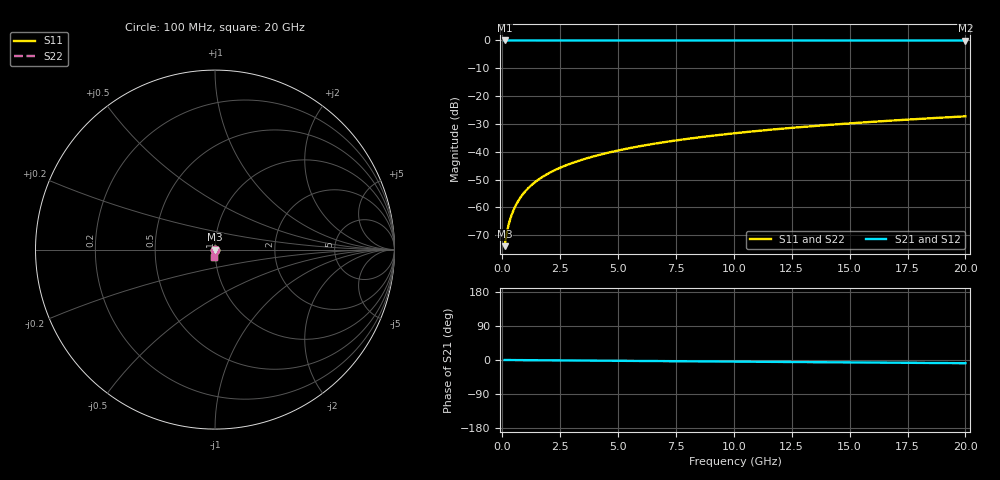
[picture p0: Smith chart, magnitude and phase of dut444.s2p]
! Touchstone file exported from HFSS 2026.1.0
!  File:  C:/ffzhzh/LocalFiles/Ansys_Project_Files/temp_train_TSV_444_1783021563_55676.aedt
!  Generated:  03:47:35 AM Jul  3, 2026
!  Design:  TSV
!  Project:  temp_train_TSV_444_1783021563_55676
! Variables:
!  h_bsmrdl = 2um
!  h_ox = 20um
!  h_rdl = 5um
!  h_sub = 84.55um
!  h_tmrdl = 5um
!  h_tsv = 84.55um
!  h_via = 3um
!  l_bsmrdl = 300um
!  l_sub = 423.56um
!  l_tmrdl = 200um
!  m_sub = 200um
!  pitch = 36.21um
!  r_tsv = 11.78um
!  s_tmrdl = 10um
!  w_bsmrdl = 18um
!  w_sub = 500um
!  w_tmrdl = 12um
!  x_tsv_center1 = 206um
!  x_tsv_center2 = 524um
!  x_tsv_center3 = 736um
!  x_tsv_center4 = 1054um
!  x_tsv_center5 = 1266um
!  x_tsv_center6 = 1584um
# GHz S MA R 50.000000
! Terminal data exported
! Port[1] = TSV1_1_T1
! Port[2] = TSV1_1_T2
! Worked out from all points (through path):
!   200 points, 100 MHz to 20 GHz, reference 50 ohm
!   highest |S21| = 0.00 dB at 100 MHz (marker M1); lowest = 0.0 dB at 20 GHz (marker M2)
!   group delay of S21, straight-line fit = 1.17 ps
!   lowest |S11| = -74.0 dB at 100 MHz (marker M3), VSWR 1.00, Z = 50 - j0.0167 ohm
!   |S11| at or under -10 dB: start of sweep to end of sweep
!   |S22| runs from -74.0 to -27.3 dB; largest |S21 - S12| = 2.1e-15
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0.1  0.0002003 -56.6  0.9999 -0.0  0.9999 -0.0  0.0002003 -56.6
! Gamma 0 0 0 0
! Port Impedance 50 0 50 0
0.2  0.0003611 -69.7  0.9999 -0.1  0.9999 -0.1  0.0003611 -69.7
0.3  0.0005376 -74.1  0.9999 -0.1  0.9999 -0.1  0.0005376 -74.1
0.4  0.0007244 -76.1  0.9998 -0.2  0.9998 -0.2  0.0007244 -76.1
0.5  0.0009192 -77.4  0.9998 -0.2  0.9998 -0.2  0.0009192 -77.4
0.7  0.001326 -79.2  0.9997 -0.3  0.9997 -0.3  0.001326 -79.2
0.8  0.001534 -79.9  0.9997 -0.4  0.9997 -0.4  0.001534 -79.9
1  0.001957 -81.1  0.9997 -0.4  0.9997 -0.4  0.001957 -81.1
1.2  0.002382 -82.1  0.9996 -0.5  0.9996 -0.5  0.002382 -82.1
1.4  0.002809 -83.0  0.9996 -0.6  0.9996 -0.6  0.002809 -83.0
1.7  0.003449 -84.0  0.9996 -0.7  0.9996 -0.7  0.003449 -84.0
2  0.004089 -84.8  0.9996 -0.9  0.9996 -0.9  0.004089 -84.8
2.7  0.005582 -86.2  0.9995 -1.2  0.9995 -1.2  0.005582 -86.2
3.5  0.007293 -87.2  0.9994 -1.5  0.9994 -1.5  0.007293 -87.2
4.2  0.008797 -87.9  0.9994 -1.8  0.9994 -1.8  0.008797 -87.9
5  0.01052 -88.6  0.9993 -2.1  0.9993 -2.1  0.01052 -88.6
6.8  0.01443 -89.8  0.9991 -2.9  0.9991 -2.9  0.01443 -89.8
8.3  0.01769 -90.7  0.999 -3.5  0.999 -3.5  0.01769 -90.7
10.1  0.02162 -91.8  0.9988 -4.3  0.9988 -4.3  0.02162 -91.8
13.4  0.02883 -93.5  0.9985 -5.7  0.9985 -5.7  0.02883 -93.5
16.7  0.03603 -95.1  0.9981 -7.1  0.9981 -7.1  0.03603 -95.1
20  0.04323 -96.7  0.9977 -8.4  0.9977 -8.4  0.04323 -96.7
